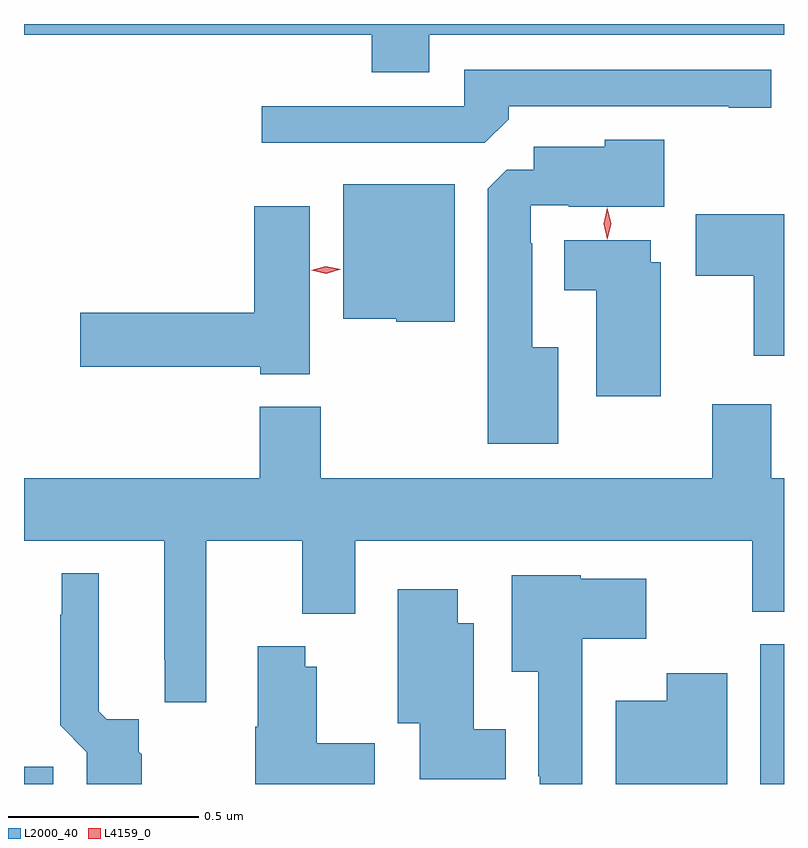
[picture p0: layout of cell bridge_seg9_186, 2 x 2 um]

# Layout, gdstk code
import gdstk
lib = gdstk.Library(unit=1e-6, precision=1e-09)
def R(c, l, rs):  # rectangles x0, y0, x1, y1
    for r in rs: c.add(gdstk.rectangle(r[:2], r[2:], *l))
def P(c, l, *ps):  # polygons
    for p in ps: c.add(gdstk.Polygon(p, *l))
L2000_40 = (2000, 40)
L4159_0 = (4159, 0)

bridge_seg9_186 = lib.new_cell('bridge_seg9_186')
R(bridge_seg9_186, L2000_40, [(138.77,1246.396,138.847,1246.441), (140.708,1246.396,140.77,1246.764)])
P(bridge_seg9_186, L2000_40, [(139.837,1248.368),(140.77,1248.368),(140.77,1248.396),(138.77,1248.396),(138.77,1248.368),(139.685,1248.368),(139.685,1248.269),(139.837,1248.269)],
  [(140.045,1248.146),(140.045,1248.18),(140.624,1248.18),(140.624,1248.175),(140.737,1248.175),(140.737,1248.276),(139.929,1248.276),(139.929,1248.18),(139.395,1248.18),(139.395,1248.084),(139.983,1248.084)],
  [(140.176,1247.545),(140.107,1247.545),(140.107,1247.819),(140.103,1247.819),(140.103,1247.919),(140.203,1247.919),(140.203,1247.915),(140.455,1247.915),(140.455,1248.091),(140.298,1248.091),(140.298,1248.073),(140.111,1248.073),(140.111,1248.012),(140.04,1248.012),(139.991,1247.963),(139.991,1247.291),(140.176,1247.291)],
  [(139.903,1247.974),(139.61,1247.974),(139.61,1247.621),(139.749,1247.621),(139.749,1247.612),(139.903,1247.612)],
  [(139.522,1247.917),(139.376,1247.917),(139.376,1247.636),(138.918,1247.636),(138.918,1247.494),(139.392,1247.494),(139.392,1247.474),(139.522,1247.474)],
  [(140.77,1247.896),(140.538,1247.896),(140.538,1247.734),(140.69,1247.734),(140.69,1247.523),(140.77,1247.523)],
  [(140.446,1247.769),(140.419,1247.769),(140.419,1247.827),(140.192,1247.827),(140.192,1247.696),(140.276,1247.696),(140.276,1247.417),(140.446,1247.417)],
  [(139.249,1247.036),(139.502,1247.036),(139.502,1246.844),(139.642,1246.844),(139.642,1247.036),(140.687,1247.036),(140.687,1246.849),(140.77,1246.849),(140.77,1247.2),(140.736,1247.2),(140.736,1247.395),(140.581,1247.395),(140.581,1247.2),(139.551,1247.2),(139.551,1247.389),(139.391,1247.389),(139.391,1247.2),(138.77,1247.2),(138.77,1247.036),(139.139,1247.036),(139.139,1246.723),(139.14,1246.723),(139.14,1246.611),(139.249,1246.611)],
  [(139.08,1246.474),(139.072,1246.481),(139.072,1246.566),(138.988,1246.566),(138.967,1246.588),(138.967,1246.951),(138.869,1246.951),(138.869,1246.841),(138.865,1246.841),(138.865,1246.55),(138.935,1246.48),(138.935,1246.396),(139.08,1246.396)],
  [(140.239,1246.778),(140.407,1246.778),(140.407,1246.936),(140.235,1246.936),(140.235,1246.945),(140.054,1246.945),(140.054,1246.691),(140.123,1246.691),(140.123,1246.417),(140.127,1246.417),(140.127,1246.396),(140.239,1246.396)],
  [(140.038,1246.54),(139.954,1246.54),(139.954,1246.819),(139.912,1246.819),(139.912,1246.909),(139.754,1246.909),(139.754,1246.556),(139.811,1246.556),(139.811,1246.409),(140.038,1246.409)],
  [(139.693,1246.503),(139.54,1246.503),(139.54,1246.705),(139.51,1246.705),(139.51,1246.759),(139.385,1246.759),(139.385,1246.547),(139.378,1246.547),(139.378,1246.396),(139.693,1246.396)],
  [(140.62,1246.687),(140.462,1246.687),(140.462,1246.615),(140.327,1246.615),(140.327,1246.396),(140.62,1246.396)])
P(bridge_seg9_186, L4159_0, [(140.305,1247.83),(140.305,1247.83),(140.295,1247.871),(140.305,1247.912),(140.305,1247.912),(140.305,1247.912),(140.315,1247.871),(140.305,1247.83)],
  [(139.565,1247.739),(139.526,1247.748),(139.526,1247.748),(139.526,1247.748),(139.564,1247.759),(139.603,1247.75),(139.603,1247.75),(139.603,1247.75)])

lib.write_gds('bridge_seg9_186.gds')
